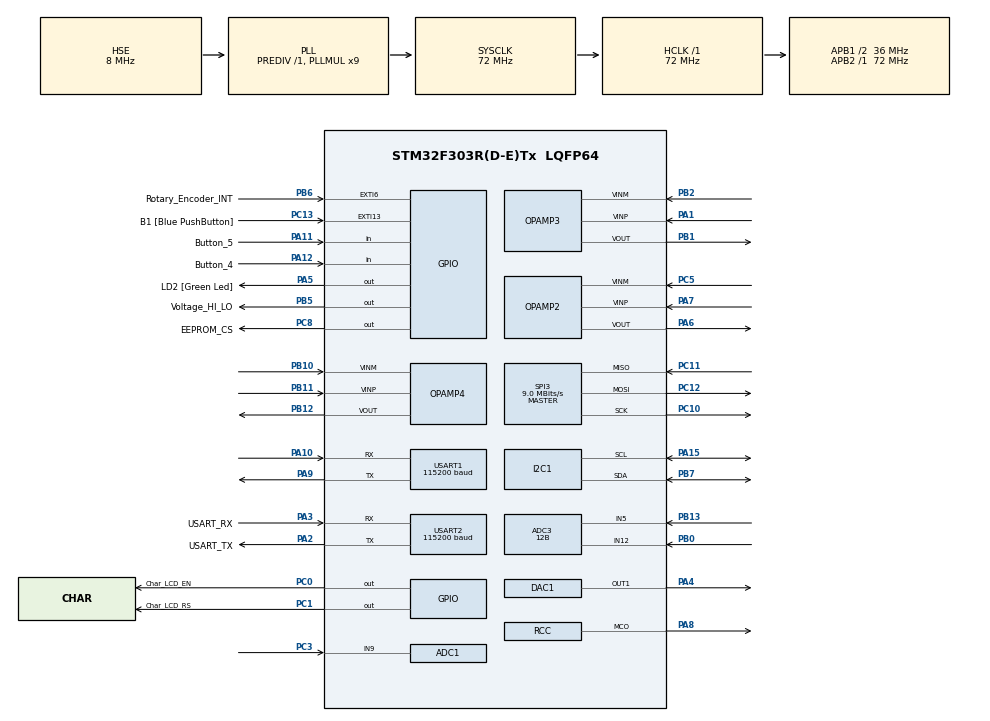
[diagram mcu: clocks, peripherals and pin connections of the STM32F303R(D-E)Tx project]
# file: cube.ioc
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ADC1.Channel-0\#ChannelRegularConversion=ADC_CHANNEL_9
ADC1.ClockPrescaler=ADC_CLOCK_SYNC_PCLK_DIV1
ADC1.ContinuousConvMode=DISABLE
ADC1.DMAContinuousRequests=DISABLE
ADC1.DataAlign=ADC_DATAALIGN_RIGHT
ADC1.DiscontinuousConvMode=DISABLE
ADC1.EOCSelection=ADC_EOC_SINGLE_CONV
ADC1.EnableAnalogWatchDog1=false
ADC1.EnableAnalogWatchDog2=false
ADC1.EnableAnalogWatchDog3=false
ADC1.EnableInjectedConversion=DISABLE
ADC1.EnableRegularConversion=ENABLE
ADC1.ExternalTrigConv=ADC_SOFTWARE_START
ADC1.ExternalTrigConvEdge=ADC_EXTERNALTRIGCONVEDGE_NONE
ADC1.LowPowerAutoWait=DISABLE
ADC1.NbrOfConversion=1
ADC1.NbrOfConversionFlag=1
ADC1.Offset-0\#ChannelRegularConversion=0
ADC1.OffsetNumber-0\#ChannelRegularConversion=ADC_OFFSET_NONE
ADC1.Overrun=ADC_OVR_DATA_OVERWRITTEN
ADC1.Rank-0\#ChannelRegularConversion=1
ADC1.Resolution=ADC_RESOLUTION_12B
ADC1.SamplingTime-0\#ChannelRegularConversion=ADC_SAMPLETIME_601CYCLES_5
ADC1.ScanConvMode=ADC_SCAN_DISABLE
ADC1.master=1
ADC2.Channel-0\#ChannelRegularConversion=ADC_CHANNEL_3
ADC2.ClockPrescaler=ADC_CLOCK_SYNC_PCLK_DIV1
ADC2.ContinuousConvMode=DISABLE
ADC2.DMAContinuousRequests=DISABLE
ADC2.DataAlign=ADC_DATAALIGN_RIGHT
ADC2.DiscontinuousConvMode=DISABLE
ADC2.EOCSelection=ADC_EOC_SINGLE_CONV
ADC2.EnableAnalogWatchDog1=false
ADC2.EnableAnalogWatchDog2=false
ADC2.EnableAnalogWatchDog3=false
ADC2.EnableInjectedConversion=DISABLE
ADC2.EnableRegularConversion=ENABLE
ADC2.LowPowerAutoWait=DISABLE
ADC2.NbrOfConversion=1
ADC2.NbrOfConversionFlag=1
ADC2.Offset-0\#ChannelRegularConversion=0
ADC2.OffsetNumber-0\#ChannelRegularConversion=ADC_OFFSET_NONE
ADC2.Overrun=ADC_OVR_DATA_OVERWRITTEN
ADC2.Rank-0\#ChannelRegularConversion=1
ADC2.Resolution=ADC_RESOLUTION_12B
ADC2.SamplingTime-0\#ChannelRegularConversion=ADC_SAMPLETIME_601CYCLES_5
ADC2.ScanConvMode=ADC_SCAN_DISABLE
ADC3.Channel-1\#ChannelRegularConversion=ADC_CHANNEL_5
ADC3.Channel-7\#ChannelRegularConversion=ADC_CHANNEL_12
ADC3.Channel-8\#ChannelRegularConversion=ADC_CHANNEL_1
ADC3.ClockPrescaler=ADC_CLOCK_SYNC_PCLK_DIV1
ADC3.ContinuousConvMode=DISABLE
ADC3.DMAContinuousRequests=DISABLE
ADC3.DataAlign=ADC_DATAALIGN_RIGHT
ADC3.DiscontinuousConvMode=DISABLE
ADC3.EOCSelection=ADC_EOC_SINGLE_SEQ_CONV
ADC3.EnableAnalogWatchDog1=false
ADC3.EnableAnalogWatchDog2=false
ADC3.EnableAnalogWatchDog3=false
ADC3.EnableInjectedConversion=DISABLE
ADC3.EnableRegularConversion=ENABLE
ADC3.ExternalTrigConv=ADC_SOFTWARE_START
ADC3.ExternalTrigConvEdge=ADC_EXTERNALTRIGCONVEDGE_NONE
ADC3.LowPowerAutoWait=DISABLE
ADC3.NbrOfConversion=3
ADC3.NbrOfConversionFlag=1
ADC3.Offset-1\#ChannelRegularConversion=0
ADC3.Offset-7\#ChannelRegularConversion=0
ADC3.Offset-8\#ChannelRegularConversion=0
ADC3.OffsetNumber-1\#ChannelRegularConversion=ADC_OFFSET_NONE
ADC3.OffsetNumber-7\#ChannelRegularConversion=ADC_OFFSET_NONE
ADC3.OffsetNumber-8\#ChannelRegularConversion=ADC_OFFSET_NONE
ADC3.Overrun=ADC_OVR_DATA_OVERWRITTEN
ADC3.Rank-1\#ChannelRegularConversion=1
ADC3.Rank-7\#ChannelRegularConversion=2
ADC3.Rank-8\#ChannelRegularConversion=3
ADC3.Resolution=ADC_RESOLUTION_12B
ADC3.SamplingTime-1\#ChannelRegularConversion=ADC_SAMPLETIME_601CYCLES_5
ADC3.SamplingTime-7\#ChannelRegularConversion=ADC_SAMPLETIME_601CYCLES_5
ADC3.SamplingTime-8\#ChannelRegularConversion=ADC_SAMPLETIME_601CYCLES_5
ADC3.ScanConvMode=ADC_SCAN_ENABLE
ADC3.master=1
ADC4.Channel-0\#ChannelRegularConversion=ADC_CHANNEL_3
ADC4.ClockPrescaler=ADC_CLOCK_SYNC_PCLK_DIV1
ADC4.ContinuousConvMode=DISABLE
ADC4.DMAContinuousRequests=DISABLE
ADC4.DataAlign=ADC_DATAALIGN_RIGHT
ADC4.DiscontinuousConvMode=DISABLE
ADC4.EOCSelection=ADC_EOC_SINGLE_CONV
ADC4.EnableAnalogWatchDog1=false
ADC4.EnableAnalogWatchDog2=false
ADC4.EnableAnalogWatchDog3=false
ADC4.EnableInjectedConversion=DISABLE
ADC4.EnableRegularConversion=ENABLE
ADC4.LowPowerAutoWait=DISABLE
ADC4.NbrOfConversion=1
ADC4.NbrOfConversionFlag=1
ADC4.Offset-0\#ChannelRegularConversion=0
ADC4.OffsetNumber-0\#ChannelRegularConversion=ADC_OFFSET_NONE
ADC4.Overrun=ADC_OVR_DATA_OVERWRITTEN
ADC4.Rank-0\#ChannelRegularConversion=1
ADC4.Resolution=ADC_RESOLUTION_12B
ADC4.SamplingTime-0\#ChannelRegularConversion=ADC_SAMPLETIME_601CYCLES_5
ADC4.ScanConvMode=ADC_SCAN_DISABLE
DAC1.DAC_OutputBuffer=DAC_OUTPUTBUFFER_DISABLE
Dma.ADC1.6.Direction=DMA_PERIPH_TO_MEMORY
Dma.ADC1.6.Instance=DMA1_Channel1
Dma.ADC1.6.MemDataAlignment=DMA_MDATAALIGN_WORD
Dma.ADC1.6.MemInc=DMA_MINC_ENABLE
Dma.ADC1.6.Mode=DMA_NORMAL
Dma.ADC1.6.PeriphDataAlignment=DMA_PDATAALIGN_WORD
Dma.ADC1.6.PeriphInc=DMA_PINC_DISABLE
Dma.ADC1.6.Priority=DMA_PRIORITY_LOW
Dma.ADC2.4.Direction=DMA_PERIPH_TO_MEMORY
Dma.ADC2.4.Instance=DMA2_Channel1
Dma.ADC2.4.MemDataAlignment=DMA_MDATAALIGN_WORD
Dma.ADC2.4.MemInc=DMA_MINC_ENABLE
Dma.ADC2.4.Mode=DMA_NORMAL
Dma.ADC2.4.PeriphDataAlignment=DMA_PDATAALIGN_WORD
Dma.ADC2.4.PeriphInc=DMA_PINC_DISABLE
Dma.ADC2.4.Priority=DMA_PRIORITY_LOW
Dma.ADC3.5.Direction=DMA_PERIPH_TO_MEMORY
Dma.ADC3.5.Instance=DMA2_Channel5
Dma.ADC3.5.MemDataAlignment=DMA_MDATAALIGN_WORD
Dma.ADC3.5.MemInc=DMA_MINC_ENABLE
Dma.ADC3.5.Mode=DMA_NORMAL
Dma.ADC3.5.PeriphDataAlignment=DMA_PDATAALIGN_WORD
Dma.ADC3.5.PeriphInc=DMA_PINC_DISABLE
Dma.ADC3.5.Priority=DMA_PRIORITY_LOW
Dma.ADC4.7.Direction=DMA_PERIPH_TO_MEMORY
Dma.ADC4.7.Instance=DMA2_Channel2
Dma.ADC4.7.MemDataAlignment=DMA_MDATAALIGN_WORD
Dma.ADC4.7.MemInc=DMA_MINC_ENABLE
Dma.ADC4.7.Mode=DMA_NORMAL
Dma.ADC4.7.PeriphDataAlignment=DMA_PDATAALIGN_WORD
Dma.ADC4.7.PeriphInc=DMA_PINC_DISABLE
Dma.ADC4.7.Priority=DMA_PRIORITY_LOW
Dma.Request0=USART2_TX
Dma.Request1=USART1_RX
Dma.Request2=USART1_TX
Dma.Request3=USART2_RX
Dma.Request4=ADC2
Dma.Request5=ADC3
Dma.Request6=ADC1
Dma.Request7=ADC4
Dma.USART1_RX.1.Direction=DMA_PERIPH_TO_MEMORY
Dma.USART1_RX.1.Instance=DMA1_Channel5
Dma.USART1_RX.1.MemDataAlignment=DMA_MDATAALIGN_BYTE
Dma.USART1_RX.1.MemInc=DMA_MINC_ENABLE
Dma.USART1_RX.1.Mode=DMA_CIRCULAR
Dma.USART1_RX.1.PeriphDataAlignment=DMA_PDATAALIGN_BYTE
Dma.USART1_RX.1.PeriphInc=DMA_PINC_DISABLE
Dma.USART1_RX.1.Priority=DMA_PRIORITY_HIGH
Dma.USART1_TX.2.Direction=DMA_MEMORY_TO_PERIPH
Dma.USART1_TX.2.Instance=DMA1_Channel4
Dma.USART1_TX.2.MemDataAlignment=DMA_MDATAALIGN_BYTE
Dma.USART1_TX.2.MemInc=DMA_MINC_ENABLE
Dma.USART1_TX.2.Mode=DMA_NORMAL
Dma.USART1_TX.2.PeriphDataAlignment=DMA_PDATAALIGN_BYTE
Dma.USART1_TX.2.PeriphInc=DMA_PINC_DISABLE
Dma.USART1_TX.2.Priority=DMA_PRIORITY_LOW
Dma.USART2_RX.3.Direction=DMA_PERIPH_TO_MEMORY
Dma.USART2_RX.3.Instance=DMA1_Channel6
Dma.USART2_RX.3.MemDataAlignment=DMA_MDATAALIGN_BYTE
Dma.USART2_RX.3.MemInc=DMA_MINC_ENABLE
Dma.USART2_RX.3.Mode=DMA_CIRCULAR
Dma.USART2_RX.3.PeriphDataAlignment=DMA_PDATAALIGN_BYTE
Dma.USART2_RX.3.PeriphInc=DMA_PINC_DISABLE
Dma.USART2_RX.3.Priority=DMA_PRIORITY_LOW
Dma.USART2_TX.0.Direction=DMA_MEMORY_TO_PERIPH
Dma.USART2_TX.0.Instance=DMA1_Channel7
Dma.USART2_TX.0.MemDataAlignment=DMA_MDATAALIGN_BYTE
Dma.USART2_TX.0.MemInc=DMA_MINC_ENABLE
Dma.USART2_TX.0.Mode=DMA_NORMAL
Dma.USART2_TX.0.PeriphDataAlignment=DMA_PDATAALIGN_BYTE
Dma.USART2_TX.0.PeriphInc=DMA_PINC_DISABLE
Dma.USART2_TX.0.Priority=DMA_PRIORITY_LOW
Mcu.Family=STM32F3
Mcu.Name=STM32F303R(D-E)Tx
Mcu.Package=LQFP64
NVIC.DMA1_Channel1_IRQn=true\:0\:0\:false\:false\:true\:false
NVIC.DMA1_Channel4_IRQn=true\:0\:0\:false\:false\:true\:true
NVIC.DMA1_Channel5_IRQn=true\:0\:0\:false\:false\:true\:true
NVIC.DMA1_Channel6_IRQn=true\:0\:0\:false\:false\:true\:true
NVIC.DMA1_Channel7_IRQn=true\:0\:0\:false\:false\:true\:true
NVIC.DMA2_Channel1_IRQn=true\:0\:0\:false\:false\:true\:false
NVIC.DMA2_Channel2_IRQn=true\:0\:0\:false\:false\:true\:false
NVIC.DMA2_Channel5_IRQn=true\:0\:0\:false\:false\:true\:false
NVIC.EXTI9_5_IRQn=true\:0\:0\:false\:false\:true\:true
NVIC.PriorityGroup=NVIC_PRIORITYGROUP_0
NVIC.SPI3_IRQn=true\:0\:0\:false\:false\:true\:true
NVIC.USART1_IRQn=true\:0\:0\:false\:false\:true\:true
NVIC.USART2_IRQn=true\:0\:0\:false\:false\:true\:true
PA1.Mode=PGA Connected
PA1.Signal=OPAMP3_VINP
PA10.Mode=Asynchronous
PA10.Signal=USART1_RX
PA11.GPIO_Label=Button_5
PA11.GPIO_PuPd=GPIO_PULLUP
PA11.Signal=GPIO_Input
PA12.GPIO_Label=Button_4
PA12.GPIO_PuPd=GPIO_PULLUP
PA12.Signal=GPIO_Input
PA13.GPIO_Label=TMS
PA13.Signal=SYS_JTMS-SWDIO
PA14.GPIO_Label=TCK
PA14.Signal=SYS_JTCK-SWCLK
PA15.Mode=I2C
PA15.Signal=I2C1_SCL
PA2.GPIO_Label=USART_TX
PA2.GPIO_Mode=GPIO_MODE_AF_PP
PA2.GPIO_PuPd=GPIO_NOPULL
PA2.GPIO_Speed=GPIO_SPEED_FREQ_LOW
PA2.Mode=Asynchronous
PA2.Signal=USART2_TX
PA3.GPIO_Label=USART_RX
PA3.GPIO_Mode=GPIO_MODE_AF_PP
PA3.GPIO_PuPd=GPIO_NOPULL
PA3.GPIO_Speed=GPIO_SPEED_FREQ_LOW
PA3.Mode=Asynchronous
PA3.Signal=USART2_RX
PA4.Signal=COMP_DAC11_group
PA5.GPIO_Label=LD2 [Green Led]
PA5.GPIO_Mode=GPIO_MODE_OUTPUT_PP
PA5.GPIO_PuPd=GPIO_NOPULL
PA5.GPIO_Speed=GPIO_SPEED_FREQ_HIGH
PA5.Signal=GPIO_Output
PA6.Mode=PGA Connected
PA6.Signal=OPAMP2_VOUT
PA7.Mode=PGA Connected
PA7.Signal=OPAMP2_VINP
PA8.Mode=Clock-out
PA8.Signal=RCC_MCO
PA9.Mode=Asynchronous
PA9.Signal=USART1_TX
PB0.Mode=IN12-Single-Ended
PB0.Signal=ADC3_IN12
PB1.Mode=PGA Connected
PB1.Signal=OPAMP3_VOUT
PB10.Mode=PGA Connected
PB10.Signal=OPAMP4_VINM
PB11.Mode=PGA Connected
PB11.Signal=OPAMP4_VINP
PB12.Mode=PGA Connected
PB12.Signal=OPAMP4_VOUT
PB13.Mode=IN5-Single-Ended
PB13.Signal=ADC3_IN5
PB2.Mode=PGA Connected
PB2.Signal=OPAMP3_VINM
PB3.GPIO_Label=SWO
PB3.Signal=SYS_JTDO-TRACESWO
PB5.GPIO_Label=Voltage_HI_LO
PB5.GPIO_Speed=GPIO_SPEED_FREQ_HIGH
PB5.Signal=GPIO_Output
PB6.GPIO_Label=Rotary_Encoder_INT
PB6.GPIO_ModeDefaultEXTI=GPIO_MODE_IT_FALLING
PB6.GPIO_PuPd=GPIO_PULLUP
PB6.Signal=GPXTI6
PB7.Mode=I2C
PB7.Signal=I2C1_SDA
PC0.GPIO_Label=Char_LCD_EN
PC0.GPIO_Speed=GPIO_SPEED_FREQ_HIGH
PC0.Signal=GPIO_Output
PC1.GPIO_Label=Char_LCD_RS
PC1.GPIO_Speed=GPIO_SPEED_FREQ_HIGH
PC1.Signal=GPIO_Output
PC10.Mode=Full_Duplex_Master
PC10.Signal=SPI3_SCK
PC11.Mode=Full_Duplex_Master
PC11.Signal=SPI3_MISO
PC12.Mode=Full_Duplex_Master
PC12.Signal=SPI3_MOSI
PC13.GPIO_Label=B1 [Blue PushButton]
PC13.GPIO_ModeDefaultEXTI=GPIO_MODE_IT_FALLING
PC13.Signal=GPXTI13
PC14-OSC32_IN.Mode=LSE-External-Oscillator
PC14-OSC32_IN.Signal=RCC_OSC32_IN
PC15-OSC32_OUT.Mode=LSE-External-Oscillator
PC15-OSC32_OUT.Signal=RCC_OSC32_OUT
PC3.Signal=ADCx_IN9
PC5.Mode=PGA Connected
PC5.Signal=OPAMP2_VINM
PC8.GPIO_Label=EEPROM_CS
PC8.GPIO_Speed=GPIO_SPEED_FREQ_HIGH
PC8.Signal=GPIO_Output
PF0-OSC_IN.Mode=HSE-External-Clock-Source
PF0-OSC_IN.Signal=RCC_OSC_IN
PF1-OSC_OUT.Signal=RCC_OSC_OUT
ProjectManager.HeapSize=0x200
ProjectManager.StackSize=0x400
ProjectManager.TargetToolchain=Other Toolchains (GPDSC)
RCC.AHBFreq_Value=72000000
RCC.APB1CLKDivider=RCC_HCLK_DIV2
RCC.APB1Freq_Value=36000000
RCC.APB1TimFreq_Value=72000000
RCC.APB2Freq_Value=72000000
RCC.APB2TimFreq_Value=72000000
RCC.CortexFreq_Value=72000000
RCC.HCLKFreq_Value=72000000
RCC.HSE_VALUE=8000000
RCC.HSI_VALUE=8000000
RCC.PLLM=8
RCC.PLLMUL=RCC_PLL_MUL9
RCC.PLLN=336
RCC.PLLP=RCC_PLLP_DIV4
RCC.PLLQ=7
RCC.PLLSourceVirtual=RCC_PLLSOURCE_HSE
RCC.RCC_MCODiv=RCC_MCODIV_16
RCC.RCC_MCOMult_Clock_Source_FROM_PLLMUL=RCC_MCO1SOURCE_PLLCLK_DIV2
RCC.RCC_MCOSource=RCC_MCO1SOURCE_PLLCLK_DIV2
RCC.RCC_PLLsource_Clock_Source_FROM_HSE=RCC_HSE_PREDIV_DIV2
RCC.SYSCLKFreq_VALUE=72000000
RCC.SYSCLKSourceVirtual=RCC_SYSCLKSOURCE_PLLCLK
RCC.USBFreq_Value=72000000
SH.ADCx_IN9.0=ADC1_IN9,IN9-Single-Ended
SH.COMP_DAC11_group.0=DAC1_OUT1,DAC_OUT1
SPI3.BaudRatePrescaler=SPI_BAUDRATEPRESCALER_4
SPI3.CalculateBaudRate=9.0 MBits/s
SPI3.DataSize=SPI_DATASIZE_8BIT
SPI3.Direction=SPI_DIRECTION_2LINES
SPI3.FirstBit=SPI_FIRSTBIT_MSB
SPI3.Mode=SPI_MODE_MASTER
SPI3.NSSPMode=SPI_NSS_PULSE_DISABLE
SPI3.VirtualType=VM_MASTER
USART1.BaudRate=115200
USART1.VirtualMode-Asynchronous=VM_ASYNC
USART1.WordLength=UART_WORDLENGTH_8B
USART2.BaudRate=115200
USART2.VirtualMode-Asynchronous=VM_ASYNC
USART2.WordLength=UART_WORDLENGTH_8B
VP_ADC2_OPAMP_OUT2.Mode=IN-OPAMP2-Single-Ended
VP_ADC3_OPAMP_OUT3.Mode=IN-OPAMP3-Single-Ended
VP_ADC4_OPAMP_OUT4.Mode=IN-OPAMP4-Single-Ended
board=NUCLEO-F303RE

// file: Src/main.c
/**
  ******************************************************************************
  * File Name          : main.c
  * Description        : Main program body
  ******************************************************************************
  *
  * COPYRIGHT(c) 2017 STMicroelectronics
  *
  * Redistribution and use in source and binary forms, with or without modification,
  * are permitted provided that the following conditions are met:
  *   1. Redistributions of source code must retain the above copyright notice,
  *      this list of conditions and the following disclaimer.
  *   2. Redistributions in binary form must reproduce the above copyright notice,
  *      this list of conditions and the following disclaimer in the documentation
  *      and/or other materials provided with the distribution.
  *   3. Neither the name of STMicroelectronics nor the names of its contributors
  *      may be used to endorse or promote products derived from this software
  *      without specific prior written permission.
  *
  * THIS SOFTWARE IS PROVIDED BY THE COPYRIGHT HOLDERS AND CONTRIBUTORS "AS IS"
  * AND ANY EXPRESS OR IMPLIED WARRANTIES, INCLUDING, BUT NOT LIMITED TO, THE
  * IMPLIED WARRANTIES OF MERCHANTABILITY AND FITNESS FOR A PARTICULAR PURPOSE ARE
  * DISCLAIMED. IN NO EVENT SHALL THE COPYRIGHT HOLDER OR CONTRIBUTORS BE LIABLE
  * FOR ANY DIRECT, INDIRECT, INCIDENTAL, SPECIAL, EXEMPLARY, OR CONSEQUENTIAL
  * DAMAGES (INCLUDING, BUT NOT LIMITED TO, PROCUREMENT OF SUBSTITUTE GOODS OR
  * SERVICES; LOSS OF USE, DATA, OR PROFITS; OR BUSINESS INTERRUPTION) HOWEVER
  * CAUSED AND ON ANY THEORY OF LIABILITY, WHETHER IN CONTRACT, STRICT LIABILITY,
  * OR TORT (INCLUDING NEGLIGENCE OR OTHERWISE) ARISING IN ANY WAY OUT OF THE USE
  * OF THIS SOFTWARE, EVEN IF ADVISED OF THE POSSIBILITY OF SUCH DAMAGE.
  *
  ******************************************************************************
  */
#include "main.h"
#include "stm32f3xx_hal.h"

/* USER CODE BEGIN Includes */

#include "System/scheduler.h"

/* USER CODE END Includes */

ADC_HandleTypeDef hadc1;
ADC_HandleTypeDef hadc2;
ADC_HandleTypeDef hadc3;
ADC_HandleTypeDef hadc4;
DMA_HandleTypeDef hdma_adc1;
DMA_HandleTypeDef hdma_adc2;
DMA_HandleTypeDef hdma_adc3;
DMA_HandleTypeDef hdma_adc4;

DAC_HandleTypeDef hdac1;

I2C_HandleTypeDef hi2c1;

OPAMP_HandleTypeDef hopamp2;
OPAMP_HandleTypeDef hopamp3;
OPAMP_HandleTypeDef hopamp4;

SPI_HandleTypeDef hspi3;

UART_HandleTypeDef huart1;
UART_HandleTypeDef huart2;
DMA_HandleTypeDef hdma_usart1_rx;
DMA_HandleTypeDef hdma_usart1_tx;
DMA_HandleTypeDef hdma_usart2_tx;
DMA_HandleTypeDef hdma_usart2_rx;

/* USER CODE BEGIN PV */
/* Private variables ---------------------------------------------------------*/

/* USER CODE END PV */

void SystemClock_Config(void);
void Error_Handler(void);
static void MX_GPIO_Init(void);
static void MX_DMA_Init(void);
static void MX_ADC1_Init(void);
static void MX_ADC2_Init(void);
static void MX_ADC3_Init(void);
static void MX_DAC1_Init(void);
static void MX_I2C1_Init(void);
static void MX_OPAMP2_Init(void);
static void MX_SPI3_Init(void);
static void MX_USART1_UART_Init(void);
static void MX_OPAMP4_Init(void);
static void MX_ADC4_Init(void);
static void MX_USART2_UART_Init(void);
static void MX_OPAMP3_Init(void);

/* USER CODE BEGIN PFP */
/* Private function prototypes -----------------------------------------------*/

/* USER CODE END PFP */

/* USER CODE BEGIN 0 */

UART_HandleTypeDef* get_huart1(void) 	{ return &huart1; }
UART_HandleTypeDef* get_huart2(void) 	{ return &huart2; }
SPI_HandleTypeDef* 	get_hspi3 (void)    { return &hspi3;  }
I2C_HandleTypeDef* 	get_hi2c1 (void) 	{ return &hi2c1;  }

ADC_HandleTypeDef* get_hadc1(void)		{ return &hadc1;  }
ADC_HandleTypeDef* get_hadc2(void)      { return &hadc2;  }
ADC_HandleTypeDef* get_hadc3(void)      { return &hadc3;  }
ADC_HandleTypeDef* get_hadc4(void)      { return &hadc4;  }

DAC_HandleTypeDef* get_hdac1(void)      { return &hdac1;  }

OPAMP_HandleTypeDef* get_hopamp2(void)  { return &hopamp2;}
OPAMP_HandleTypeDef* get_hopamp3(void)  { return &hopamp3;}
OPAMP_HandleTypeDef* get_hopamp4(void)  { return &hopamp4;}

/* USER CODE END 0 */

int main(void)
{

  /* MCU Configuration----------------------------------------------------------*/

  /* Reset of all peripherals, Initializes the Flash interface and the Systick. */
  HAL_Init();

  /* Configure the system clock */
  SystemClock_Config();

  /* Initialize all configured peripherals */
  MX_GPIO_Init();
  MX_DMA_Init();
  MX_ADC1_Init();
  MX_ADC2_Init();
  MX_ADC3_Init();
  MX_DAC1_Init();
  MX_I2C1_Init();
  MX_OPAMP2_Init();
  MX_SPI3_Init();
  MX_USART1_UART_Init();
  MX_OPAMP4_Init();
  MX_ADC4_Init();
  MX_USART2_UART_Init();
  MX_OPAMP3_Init();

  /* USER CODE BEGIN 2 */

  scheduler_init();

  /* USER CODE END 2 */

  /* Infinite loop */
  while (1)
  {

  /* USER CODE BEGIN 3 */

	  scheduler_cycle();

	  //HAL_GPIO_TogglePin(LD2_GPIO_Port, LD2_Pin);

  }
  /* USER CODE END 3 */

}

/** System Clock Configuration
*/
void SystemClock_Config(void)
{

  RCC_OscInitTypeDef RCC_OscInitStruct;
  RCC_ClkInitTypeDef RCC_ClkInitStruct;
  RCC_PeriphCLKInitTypeDef PeriphClkInit;

    /**Initializes the CPU, AHB and APB busses clocks
    */
  RCC_OscInitStruct.OscillatorType = RCC_OSCILLATORTYPE_HSI|RCC_OSCILLATORTYPE_HSE;
  RCC_OscInitStruct.HSEState = RCC_HSE_BYPASS;
  RCC_OscInitStruct.HSIState = RCC_HSI_ON;
  RCC_OscInitStruct.HSICalibrationValue = 16;
  RCC_OscInitStruct.PLL.PLLState = RCC_PLL_ON;
  RCC_OscInitStruct.PLL.PLLSource = RCC_PLLSOURCE_HSE;
  RCC_OscInitStruct.PLL.PLLMUL = RCC_PLL_MUL9;
  RCC_OscInitStruct.PLL.PREDIV = RCC_PREDIV_DIV1;
  if (HAL_RCC_OscConfig(&RCC_OscInitStruct) != HAL_OK)
  {
    Error_Handler();
  }

    /**Initializes the CPU, AHB and APB busses clocks
    */
  RCC_ClkInitStruct.ClockType = RCC_CLOCKTYPE_HCLK|RCC_CLOCKTYPE_SYSCLK
                              |RCC_CLOCKTYPE_PCLK1|RCC_CLOCKTYPE_PCLK2;
  RCC_ClkInitStruct.SYSCLKSource = RCC_SYSCLKSOURCE_PLLCLK;
  RCC_ClkInitStruct.AHBCLKDivider = RCC_SYSCLK_DIV1;
  RCC_ClkInitStruct.APB1CLKDivider = RCC_HCLK_DIV2;
  RCC_ClkInitStruct.APB2CLKDivider = RCC_HCLK_DIV1;

  if (HAL_RCC_ClockConfig(&RCC_ClkInitStruct, FLASH_LATENCY_2) != HAL_OK)
  {
    Error_Handler();
  }

  PeriphClkInit.PeriphClockSelection = RCC_PERIPHCLK_USART1|RCC_PERIPHCLK_USART2
                              |RCC_PERIPHCLK_I2C1;
  PeriphClkInit.Usart1ClockSelection = RCC_USART1CLKSOURCE_PCLK2;
  PeriphClkInit.Usart2ClockSelection = RCC_USART2CLKSOURCE_PCLK1;
  PeriphClkInit.I2c1ClockSelection = RCC_I2C1CLKSOURCE_HSI;
  if (HAL_RCCEx_PeriphCLKConfig(&PeriphClkInit) != HAL_OK)
  {
    Error_Handler();
  }

  HAL_RCC_MCOConfig(RCC_MCO, RCC_MCO1SOURCE_PLLCLK_DIV2, RCC_MCODIV_16);

    /**Configure the Systick interrupt time
    */
  HAL_SYSTICK_Config(HAL_RCC_GetHCLKFreq()/1000);

    /**Configure the Systick
    */
  HAL_SYSTICK_CLKSourceConfig(SYSTICK_CLKSOURCE_HCLK);

  /* SysTick_IRQn interrupt configuration */
  HAL_NVIC_SetPriority(SysTick_IRQn, 0, 0);
}

/* ADC1 init function */
static void MX_ADC1_Init(void)
{

  ADC_MultiModeTypeDef multimode;
  ADC_ChannelConfTypeDef sConfig;

    /**Common config
    */
  hadc1.Instance = ADC1;
  hadc1.Init.ClockPrescaler = ADC_CLOCK_SYNC_PCLK_DIV1;
  hadc1.Init.Resolution = ADC_RESOLUTION_12B;
  hadc1.Init.ScanConvMode = ADC_SCAN_DISABLE;
  hadc1.Init.ContinuousConvMode = DISABLE;
  hadc1.Init.DiscontinuousConvMode = DISABLE;
  hadc1.Init.ExternalTrigConvEdge = ADC_EXTERNALTRIGCONVEDGE_NONE;
  hadc1.Init.ExternalTrigConv = ADC_SOFTWARE_START;
  hadc1.Init.DataAlign = ADC_DATAALIGN_RIGHT;
  hadc1.Init.NbrOfConversion = 1;
  hadc1.Init.DMAContinuousRequests = DISABLE;
  hadc1.Init.EOCSelection = ADC_EOC_SINGLE_CONV;
  hadc1.Init.LowPowerAutoWait = DISABLE;
  hadc1.Init.Overrun = ADC_OVR_DATA_OVERWRITTEN;
  if (HAL_ADC_Init(&hadc1) != HAL_OK)
  {
    Error_Handler();
  }

    /**Configure the ADC multi-mode
    */
  multimode.Mode = ADC_MODE_INDEPENDENT;
  if (HAL_ADCEx_MultiModeConfigChannel(&hadc1, &multimode) != HAL_OK)
  {
    Error_Handler();
  }

    /**Configure Regular Channel
    */
  sConfig.Channel = ADC_CHANNEL_9;
  sConfig.Rank = 1;
  sConfig.SingleDiff = ADC_SINGLE_ENDED;
  sConfig.SamplingTime = ADC_SAMPLETIME_601CYCLES_5;
  sConfig.OffsetNumber = ADC_OFFSET_NONE;
  sConfig.Offset = 0;
  if (HAL_ADC_ConfigChannel(&hadc1, &sConfig) != HAL_OK)
  {
    Error_Handler();
  }

}

/* ADC2 init function */
static void MX_ADC2_Init(void)
{

  ADC_ChannelConfTypeDef sConfig;

    /**Common config
    */
  hadc2.Instance = ADC2;
  hadc2.Init.ClockPrescaler = ADC_CLOCK_SYNC_PCLK_DIV1;
  hadc2.Init.Resolution = ADC_RESOLUTION_12B;
  hadc2.Init.ScanConvMode = ADC_SCAN_DISABLE;
  hadc2.Init.ContinuousConvMode = DISABLE;
  hadc2.Init.DiscontinuousConvMode = DISABLE;
  hadc2.Init.DataAlign = ADC_DATAALIGN_RIGHT;
  hadc2.Init.NbrOfConversion = 1;
  hadc2.Init.DMAContinuousRequests = DISABLE;
  hadc2.Init.EOCSelection = ADC_EOC_SINGLE_CONV;
  hadc2.Init.LowPowerAutoWait = DISABLE;
  hadc2.Init.Overrun = ADC_OVR_DATA_OVERWRITTEN;
  if (HAL_ADC_Init(&hadc2) != HAL_OK)
  {
    Error_Handler();
  }

    /**Configure Regular Channel
    */
  sConfig.Channel = ADC_CHANNEL_3;
  sConfig.Rank = 1;
  sConfig.SingleDiff = ADC_SINGLE_ENDED;
  sConfig.SamplingTime = ADC_SAMPLETIME_601CYCLES_5;
  sConfig.OffsetNumber = ADC_OFFSET_NONE;
  sConfig.Offset = 0;
  if (HAL_ADC_ConfigChannel(&hadc2, &sConfig) != HAL_OK)
  {
    Error_Handler();
  }

}

/* ADC3 init function */
static void MX_ADC3_Init(void)
{

  ADC_MultiModeTypeDef multimode;
  ADC_ChannelConfTypeDef sConfig;

    /**Common config
    */
  hadc3.Instance = ADC3;
  hadc3.Init.ClockPrescaler = ADC_CLOCK_SYNC_PCLK_DIV1;
  hadc3.Init.Resolution = ADC_RESOLUTION_12B;
  hadc3.Init.ScanConvMode = ADC_SCAN_ENABLE;
  hadc3.Init.ContinuousConvMode = DISABLE;
  hadc3.Init.DiscontinuousConvMode = DISABLE;
  hadc3.Init.ExternalTrigConvEdge = ADC_EXTERNALTRIGCONVEDGE_NONE;
  hadc3.Init.ExternalTrigConv = ADC_SOFTWARE_START;
  hadc3.Init.DataAlign = ADC_DATAALIGN_RIGHT;
  hadc3.Init.NbrOfConversion = 3;
  hadc3.Init.DMAContinuousRequests = DISABLE;
  hadc3.Init.EOCSelection = ADC_EOC_SINGLE_SEQ_CONV;
  hadc3.Init.LowPowerAutoWait = DISABLE;
  hadc3.Init.Overrun = ADC_OVR_DATA_OVERWRITTEN;
  if (HAL_ADC_Init(&hadc3) != HAL_OK)
  {
    Error_Handler();
  }

    /**Configure the ADC multi-mode
    */
  multimode.Mode = ADC_MODE_INDEPENDENT;
  if (HAL_ADCEx_MultiModeConfigChannel(&hadc3, &multimode) != HAL_OK)
  {
    Error_Handler();
  }

    /**Configure Regular Channel
    */
  sConfig.Channel = ADC_CHANNEL_5;
  sConfig.Rank = 1;
  sConfig.SingleDiff = ADC_SINGLE_ENDED;
  sConfig.SamplingTime = ADC_SAMPLETIME_601CYCLES_5;
  sConfig.OffsetNumber = ADC_OFFSET_NONE;
  sConfig.Offset = 0;
  if (HAL_ADC_ConfigChannel(&hadc3, &sConfig) != HAL_OK)
  {
    Error_Handler();
  }

    /**Configure Regular Channel
    */
  sConfig.Channel = ADC_CHANNEL_12;
  sConfig.Rank = 2;
  if (HAL_ADC_ConfigChannel(&hadc3, &sConfig) != HAL_OK)
  {
    Error_Handler();
  }

    /**Configure Regular Channel
    */
  sConfig.Channel = ADC_CHANNEL_1;
  sConfig.Rank = 3;
  if (HAL_ADC_ConfigChannel(&hadc3, &sConfig) != HAL_OK)
  {
    Error_Handler();
  }

}

/* ADC4 init function */
static void MX_ADC4_Init(void)
{

  ADC_ChannelConfTypeDef sConfig;

    /**Common config
    */
  hadc4.Instance = ADC4;
  hadc4.Init.ClockPrescaler = ADC_CLOCK_SYNC_PCLK_DIV1;
  hadc4.Init.Resolution = ADC_RESOLUTION_12B;
  hadc4.Init.ScanConvMode = ADC_SCAN_DISABLE;
  hadc4.Init.ContinuousConvMode = DISABLE;
  hadc4.Init.DiscontinuousConvMode = DISABLE;
  hadc4.Init.DataAlign = ADC_DATAALIGN_RIGHT;
  hadc4.Init.NbrOfConversion = 1;
  hadc4.Init.DMAContinuousRequests = DISABLE;
  hadc4.Init.EOCSelection = ADC_EOC_SINGLE_CONV;
  hadc4.Init.LowPowerAutoWait = DISABLE;
  hadc4.Init.Overrun = ADC_OVR_DATA_OVERWRITTEN;
  if (HAL_ADC_Init(&hadc4) != HAL_OK)
  {
    Error_Handler();
  }

    /**Configure Regular Channel
    */
  sConfig.Channel = ADC_CHANNEL_3;
  sConfig.Rank = 1;
  sConfig.SingleDiff = ADC_SINGLE_ENDED;
  sConfig.SamplingTime = ADC_SAMPLETIME_601CYCLES_5;
  sConfig.OffsetNumber = ADC_OFFSET_NONE;
  sConfig.Offset = 0;
  if (HAL_ADC_ConfigChannel(&hadc4, &sConfig) != HAL_OK)
  {
    Error_Handler();
  }

}

/* DAC1 init function */
static void MX_DAC1_Init(void)
{

  DAC_ChannelConfTypeDef sConfig;

    /**DAC Initialization
    */
  hdac1.Instance = DAC1;
  if (HAL_DAC_Init(&hdac1) != HAL_OK)
  {
    Error_Handler();
  }

    /**DAC channel OUT1 config
    */
  sConfig.DAC_Trigger = DAC_TRIGGER_NONE;
  sConfig.DAC_OutputBuffer = DAC_OUTPUTBUFFER_DISABLE;
  if (HAL_DAC_ConfigChannel(&hdac1, &sConfig, DAC_CHANNEL_1) != HAL_OK)
  {
    Error_Handler();
  }

}

/* I2C1 init function */
static void MX_I2C1_Init(void)
{

  hi2c1.Instance = I2C1;
  hi2c1.Init.Timing = 0x2000090E;
  hi2c1.Init.OwnAddress1 = 0;
  hi2c1.Init.AddressingMode = I2C_ADDRESSINGMODE_7BIT;
  hi2c1.Init.DualAddressMode = I2C_DUALADDRESS_DISABLE;
  hi2c1.Init.OwnAddress2 = 0;
  hi2c1.Init.OwnAddress2Masks = I2C_OA2_NOMASK;
  hi2c1.Init.GeneralCallMode = I2C_GENERALCALL_DISABLE;
  hi2c1.Init.NoStretchMode = I2C_NOSTRETCH_DISABLE;
  if (HAL_I2C_Init(&hi2c1) != HAL_OK)
  {
    Error_Handler();
  }

    /**Configure Analogue filter
    */
  if (HAL_I2CEx_ConfigAnalogFilter(&hi2c1, I2C_ANALOGFILTER_ENABLE) != HAL_OK)
  {
    Error_Handler();
  }

}

/* OPAMP2 init function */
static void MX_OPAMP2_Init(void)
{

  hopamp2.Instance = OPAMP2;
  hopamp2.Init.Mode = OPAMP_PGA_MODE;
  hopamp2.Init.NonInvertingInput = OPAMP_NONINVERTINGINPUT_IO0;
  hopamp2.Init.TimerControlledMuxmode = OPAMP_TIMERCONTROLLEDMUXMODE_DISABLE;
  hopamp2.Init.PgaConnect = OPAMP_PGA_CONNECT_INVERTINGINPUT_IO0;
  hopamp2.Init.PgaGain = OPAMP_PGA_GAIN_2;
  hopamp2.Init.UserTrimming = OPAMP_TRIMMING_FACTORY;
  if (HAL_OPAMP_Init(&hopamp2) != HAL_OK)
  {
    Error_Handler();
  }

  if (HAL_OPAMP_SelfCalibrate(&hopamp2) != HAL_OK)
  {
    Error_Handler();
  }

}

/* OPAMP3 init function */
static void MX_OPAMP3_Init(void)
{

  hopamp3.Instance = OPAMP3;
  hopamp3.Init.Mode = OPAMP_PGA_MODE;
  hopamp3.Init.NonInvertingInput = OPAMP_NONINVERTINGINPUT_IO2;
  hopamp3.Init.TimerControlledMuxmode = OPAMP_TIMERCONTROLLEDMUXMODE_DISABLE;
  hopamp3.Init.PgaConnect = OPAMP_PGA_CONNECT_INVERTINGINPUT_IO1;
  hopamp3.Init.PgaGain = OPAMP_PGA_GAIN_2;
  hopamp3.Init.UserTrimming = OPAMP_TRIMMING_FACTORY;
  if (HAL_OPAMP_Init(&hopamp3) != HAL_OK)
  {
    Error_Handler();
  }

  if (HAL_OPAMP_SelfCalibrate(&hopamp3) != HAL_OK)
  {
    Error_Handler();
  }

}

/* OPAMP4 init function */
static void MX_OPAMP4_Init(void)
{

  hopamp4.Instance = OPAMP4;
  hopamp4.Init.Mode = OPAMP_PGA_MODE;
  hopamp4.Init.NonInvertingInput = OPAMP_NONINVERTINGINPUT_IO3;
  hopamp4.Init.TimerControlledMuxmode = OPAMP_TIMERCONTROLLEDMUXMODE_DISABLE;
  hopamp4.Init.PgaConnect = OPAMP_PGA_CONNECT_INVERTINGINPUT_IO0;
  hopamp4.Init.PgaGain = OPAMP_PGA_GAIN_2;
  hopamp4.Init.UserTrimming = OPAMP_TRIMMING_FACTORY;
  if (HAL_OPAMP_Init(&hopamp4) != HAL_OK)
  {
    Error_Handler();
  }

  if (HAL_OPAMP_SelfCalibrate(&hopamp4) != HAL_OK)
  {
    Error_Handler();
  }

}

/* SPI3 init function */
static void MX_SPI3_Init(void)
{

  hspi3.Instance = SPI3;
  hspi3.Init.Mode = SPI_MODE_MASTER;
  hspi3.Init.Direction = SPI_DIRECTION_2LINES;
  hspi3.Init.DataSize = SPI_DATASIZE_8BIT;
  hspi3.Init.CLKPolarity = SPI_POLARITY_LOW;
  hspi3.Init.CLKPhase = SPI_PHASE_1EDGE;
  hspi3.Init.NSS = SPI_NSS_SOFT;
  hspi3.Init.BaudRatePrescaler = SPI_BAUDRATEPRESCALER_4;
  hspi3.Init.FirstBit = SPI_FIRSTBIT_MSB;
  hspi3.Init.TIMode = SPI_TIMODE_DISABLE;
  hspi3.Init.CRCCalculation = SPI_CRCCALCULATION_DISABLE;
  hspi3.Init.CRCPolynomial = 7;
  hspi3.Init.CRCLength = SPI_CRC_LENGTH_DATASIZE;
  hspi3.Init.NSSPMode = SPI_NSS_PULSE_DISABLE;
  if (HAL_SPI_Init(&hspi3) != HAL_OK)
  {
    Error_Handler();
  }

}

/* USART1 init function */
static void MX_USART1_UART_Init(void)
{

  huart1.Instance = USART1;
  huart1.Init.BaudRate = 115200;
  huart1.Init.WordLength = UART_WORDLENGTH_8B;
  huart1.Init.StopBits = UART_STOPBITS_1;
  huart1.Init.Parity = UART_PARITY_NONE;
  huart1.Init.Mode = UART_MODE_TX_RX;
  huart1.Init.HwFlowCtl = UART_HWCONTROL_NONE;
  huart1.Init.OverSampling = UART_OVERSAMPLING_16;
  huart1.Init.OneBitSampling = UART_ONE_BIT_SAMPLE_DISABLE;
  huart1.AdvancedInit.AdvFeatureInit = UART_ADVFEATURE_NO_INIT;
  if (HAL_UART_Init(&huart1) != HAL_OK)
  {
    Error_Handler();
  }

}

/* USART2 init function */
static void MX_USART2_UART_Init(void)
{

  huart2.Instance = USART2;
  huart2.Init.BaudRate = 115200;
  huart2.Init.WordLength = UART_WORDLENGTH_8B;
  huart2.Init.StopBits = UART_STOPBITS_1;
  huart2.Init.Parity = UART_PARITY_NONE;
  huart2.Init.Mode = UART_MODE_TX_RX;
  huart2.Init.HwFlowCtl = UART_HWCONTROL_NONE;
  huart2.Init.OverSampling = UART_OVERSAMPLING_16;
  huart2.Init.OneBitSampling = UART_ONE_BIT_SAMPLE_DISABLE;
  huart2.AdvancedInit.AdvFeatureInit = UART_ADVFEATURE_NO_INIT;
  if (HAL_UART_Init(&huart2) != HAL_OK)
  {
    Error_Handler();
  }

}

static void MX_DMA_Init(void)
{
  /* DMA controller clock enable */
  __HAL_RCC_DMA1_CLK_ENABLE();
  __HAL_RCC_DMA2_CLK_ENABLE();

  /* DMA interrupt init */
  /* DMA1_Channel1_IRQn interrupt configuration */
  HAL_NVIC_SetPriority(DMA1_Channel1_IRQn, 0, 0);
  HAL_NVIC_EnableIRQ(DMA1_Channel1_IRQn);
  /* DMA1_Channel4_IRQn interrupt configuration */
  HAL_NVIC_SetPriority(DMA1_Channel4_IRQn, 0, 0);
  HAL_NVIC_EnableIRQ(DMA1_Channel4_IRQn);
  /* DMA1_Channel5_IRQn interrupt configuration */
  HAL_NVIC_SetPriority(DMA1_Channel5_IRQn, 0, 0);
  HAL_NVIC_EnableIRQ(DMA1_Channel5_IRQn);
  /* DMA1_Channel6_IRQn interrupt configuration */
  HAL_NVIC_SetPriority(DMA1_Channel6_IRQn, 0, 0);
  HAL_NVIC_EnableIRQ(DMA1_Channel6_IRQn);
  /* DMA1_Channel7_IRQn interrupt configuration */
  HAL_NVIC_SetPriority(DMA1_Channel7_IRQn, 0, 0);
  HAL_NVIC_EnableIRQ(DMA1_Channel7_IRQn);
  /* DMA2_Channel1_IRQn interrupt configuration */
  HAL_NVIC_SetPriority(DMA2_Channel1_IRQn, 0, 0);
  HAL_NVIC_EnableIRQ(DMA2_Channel1_IRQn);
  /* DMA2_Channel2_IRQn interrupt configuration */
  HAL_NVIC_SetPriority(DMA2_Channel2_IRQn, 0, 0);
  HAL_NVIC_EnableIRQ(DMA2_Channel2_IRQn);
  /* DMA2_Channel5_IRQn interrupt configuration */
  HAL_NVIC_SetPriority(DMA2_Channel5_IRQn, 0, 0);
  HAL_NVIC_EnableIRQ(DMA2_Channel5_IRQn);

}

/** Configure pins as
        * Analog
        * Input
        * Output
        * EVENT_OUT
        * EXTI
     PA8   ------> RCC_MCO
*/
static void MX_GPIO_Init(void)
{

  GPIO_InitTypeDef GPIO_InitStruct;

  /* GPIO Ports Clock Enable */
  __HAL_RCC_GPIOC_CLK_ENABLE();
  __HAL_RCC_GPIOF_CLK_ENABLE();
  __HAL_RCC_GPIOA_CLK_ENABLE();
  __HAL_RCC_GPIOB_CLK_ENABLE();

  /*Configure GPIO pin Output Level */
  HAL_GPIO_WritePin(GPIOC, Char_LCD_EN_Pin|Char_LCD_RS_Pin|EEPROM_CS_Pin, GPIO_PIN_RESET);

  /*Configure GPIO pin Output Level */
  HAL_GPIO_WritePin(LD2_GPIO_Port, LD2_Pin, GPIO_PIN_RESET);

  /*Configure GPIO pin Output Level */
  HAL_GPIO_WritePin(Voltage_HI_LO_GPIO_Port, Voltage_HI_LO_Pin, GPIO_PIN_RESET);

  /*Configure GPIO pin : B1_Pin */
  GPIO_InitStruct.Pin = B1_Pin;
  GPIO_InitStruct.Mode = GPIO_MODE_IT_FALLING;
  GPIO_InitStruct.Pull = GPIO_NOPULL;
  HAL_GPIO_Init(B1_GPIO_Port, &GPIO_InitStruct);

  /*Configure GPIO pins : Char_LCD_EN_Pin Char_LCD_RS_Pin EEPROM_CS_Pin */
  GPIO_InitStruct.Pin = Char_LCD_EN_Pin|Char_LCD_RS_Pin|EEPROM_CS_Pin;
  GPIO_InitStruct.Mode = GPIO_MODE_OUTPUT_PP;
  GPIO_InitStruct.Pull = GPIO_NOPULL;
  GPIO_InitStruct.Speed = GPIO_SPEED_FREQ_HIGH;
  HAL_GPIO_Init(GPIOC, &GPIO_InitStruct);

  /*Configure GPIO pin : LD2_Pin */
  GPIO_InitStruct.Pin = LD2_Pin;
  GPIO_InitStruct.Mode = GPIO_MODE_OUTPUT_PP;
  GPIO_InitStruct.Pull = GPIO_NOPULL;
  GPIO_InitStruct.Speed = GPIO_SPEED_FREQ_HIGH;
  HAL_GPIO_Init(LD2_GPIO_Port, &GPIO_InitStruct);

  /*Configure GPIO pin : PA8 */
  GPIO_InitStruct.Pin = GPIO_PIN_8;
  GPIO_InitStruct.Mode = GPIO_MODE_AF_PP;
  GPIO_InitStruct.Pull = GPIO_NOPULL;
  GPIO_InitStruct.Speed = GPIO_SPEED_FREQ_LOW;
  GPIO_InitStruct.Alternate = GPIO_AF0_TRACE;
  HAL_GPIO_Init(GPIOA, &GPIO_InitStruct);

  /*Configure GPIO pins : Button_5_Pin Button_4_Pin */
  GPIO_InitStruct.Pin = Button_5_Pin|Button_4_Pin;
  GPIO_InitStruct.Mode = GPIO_MODE_INPUT;
  GPIO_InitStruct.Pull = GPIO_PULLUP;
  HAL_GPIO_Init(GPIOA, &GPIO_InitStruct);

  /*Configure GPIO pin : Voltage_HI_LO_Pin */
  GPIO_InitStruct.Pin = Voltage_HI_LO_Pin;
  GPIO_InitStruct.Mode = GPIO_MODE_OUTPUT_PP;
  GPIO_InitStruct.Pull = GPIO_NOPULL;
  GPIO_InitStruct.Speed = GPIO_SPEED_FREQ_HIGH;
  HAL_GPIO_Init(Voltage_HI_LO_GPIO_Port, &GPIO_InitStruct);

  /*Configure GPIO pin : Rotary_Encoder_INT_Pin */
  GPIO_InitStruct.Pin = Rotary_Encoder_INT_Pin;
  GPIO_InitStruct.Mode = GPIO_MODE_IT_FALLING;
  GPIO_InitStruct.Pull = GPIO_PULLUP;
  HAL_GPIO_Init(Rotary_Encoder_INT_GPIO_Port, &GPIO_InitStruct);

  /* EXTI interrupt init*/
  HAL_NVIC_SetPriority(EXTI9_5_IRQn, 0, 0);
  HAL_NVIC_EnableIRQ(EXTI9_5_IRQn);

}

void Error_Handler(void)
{
  while(1)
  {
  }
}

/************************ (C) COPYRIGHT STMicroelectronics *****END OF FILE****/
